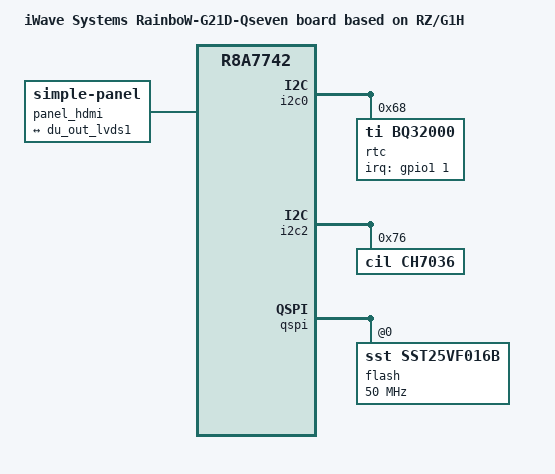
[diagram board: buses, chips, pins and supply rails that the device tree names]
// SPDX-License-Identifier: GPL-2.0
/*
 * Device Tree Source for the iWave-RZ/G1H Qseven board
 *
 * Copyright (C) 2020 Renesas Electronics Corp.
 */

/*
 * SSI-SGTL5000
 *
 * This command is required when Playback/Capture
 *
 *      amixer set "DVC Out" 100%
 *      amixer set "DVC In" 100%
 *
 * You can use Mute
 *
 *      amixer set "DVC Out Mute" on
 *      amixer set "DVC In Mute" on
 *
 * You can use Volume Ramp
 *
 *      amixer set "DVC Out Ramp Up Rate"   "0.125 dB/64 steps"
 *      amixer set "DVC Out Ramp Down Rate" "0.125 dB/512 steps"
 *      amixer set "DVC Out Ramp" on
 *      aplay xxx.wav &
 *      amixer set "DVC Out"  80%  // Volume Down
 *      amixer set "DVC Out" 100%  // Volume Up
 */

#include "r8a7742-iwg21d-q7.dts"

/ {
	model = "iWave Systems RainboW-G21D-Qseven board based on RZ/G1H";
	compatible = "iwave,g21d", "iwave,g21m", "renesas,r8a7742";

	panel_hdmi: panel@1 {
		compatible = "simple-panel";

		width-mm = <200>;
		height-mm = <150>;

		port {
			panel_hdmi_in: endpoint {
				remote-endpoint = <&du_out_lvds1>;
			};
		};

		panel-timing {
			clock-frequency = <65000000>;
			hactive = <1024>;
			vactive = <768>;
			hfront-porch = <24>;
			hback-porch = <296>;
			hsync-len = <19>;
			vfront-porch = <19>;
			vback-porch = <32>;
			vsync-len = <6>;
		};
	};
};

&du {
	ports {
		port@2 {
			 endpoint {
				remote-endpoint = <&panel_hdmi_in>;
			};
		};
	};
};

&i2c0 {
	/delete-node/ rtc@51;
	rtc@68 {
		compatible = "ti,bq32000";
		reg = <0x68>;
		interrupt-parent = <&gpio1>;
		interrupts = <1 IRQ_TYPE_EDGE_FALLING>;
	};
};

&i2c2 {
	ch7036@76 {
		compatible = "cil,ch7036";
		reg = <0x76>;
	};

};

&qspi {
	flash@0 {
		compatible = "sst,sst25vf016b", "jedec,spi-nor";
		spi-max-frequency = <50000000>;
	};
};
